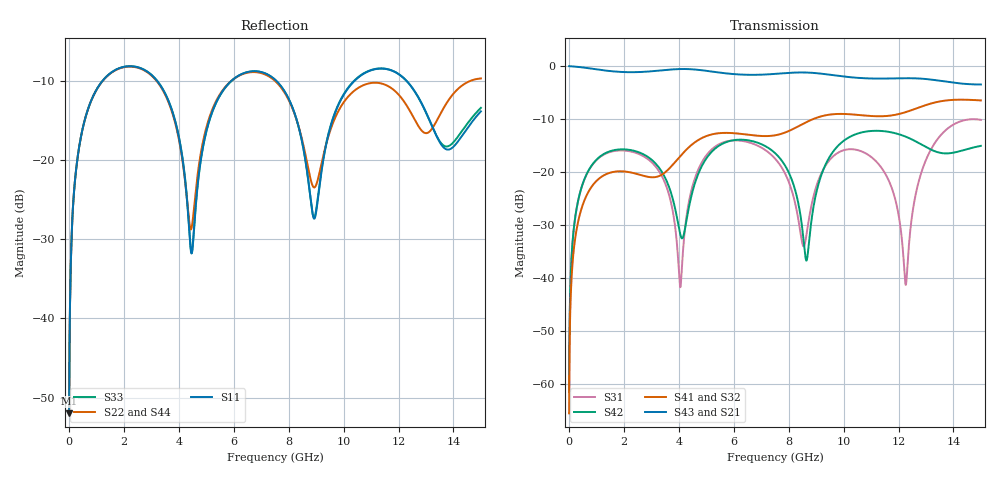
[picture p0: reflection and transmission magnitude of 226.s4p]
! Created with skrf 1.8.0 (http://scikit-rf.org).
# GHz S RI R 50.0
!freq ReS11 ImS11 ReS12 ImS12 ReS13 ImS13
! ReS14 ImS14
! ReS21 ImS21 ReS22 ImS22 ReS23 ImS23
! ReS24 ImS24
! ReS31 ImS31 ReS32 ImS32 ReS33 ImS33
! ReS34 ImS34
! ReS41 ImS41 ReS42 ImS42 ReS43 ImS43
! ReS44 ImS44
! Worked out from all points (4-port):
!   2499 points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, 5 MHz to 15 GHz, reference 50 ohm
!   strongest paths, dB at 5 MHz, 3.476 GHz, 7.19 GHz, 11.1 GHz, 15 GHz:
!     S43: 0.0, -0.8, -1.6, -2.4, -3.5
!     S21: 0.0, -0.8, -1.6, -2.4, -3.5
!     S41: -65.6, -20.2, -13.2, -9.5, -6.5
!     S32: -65.6, -20.2, -13.3, -9.5, -6.6
!     S42: -61.6, -20.9, -15.2, -12.2, -15.1
!     S31: -61.6, -21.8, -16.0, -17.6, -10.2
!   lowest |S11| = -52.0 dB at 5 MHz (marker M1), VSWR 1.01, Z = 50.2 + j0.153 ohm
!   |S11| at or under -10 dB: 3.209 GHz to 5.91 GHz (2.702 GHz wide, 59.2 % of centre); 7.554 GHz to 10.4 GHz (2.841 GHz wide, 31.7 % of centre); 12.3 GHz to end of sweep (the widest 3 of 4)
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0.005  0.00201 0.00152  0.998 -0.00391  0.000103 0.000826  -0.0001 -0.000514
       0.998 -0.00391  0.00201 0.00152  -0.0001 -0.000514  0.000103 0.000826
       0.000103 0.000826  -0.0001 -0.000514  0.00201 0.00152  0.998 -0.00391
       -0.0001 -0.000514  0.000103 0.000826  0.998 -0.00391  0.00201 0.00152
1.3193  0.2837 0.1701  0.5205 -0.7441  0.1333 0.0642  -0.0943 -0.00123
        0.5205 -0.7441  0.2815 0.1717  -0.0942 -0.0013  0.1395 0.0552
        0.1333 0.0642  -0.0942 -0.0013  0.2838 0.1701  0.5204 -0.7441
        -0.0943 -0.00123  0.1395 0.0552  0.5204 -0.7441  0.2815 0.1717
4.051688  0.0562 -0.1117  -0.8722 -0.3442  0.00802 0.00131  -0.0467 0.1329
          -0.8722 -0.3442  0.0649 -0.1028  -0.0477 0.1325  -0.022 -0.0134
          0.00802 0.00131  -0.0477 0.1325  0.0567 -0.1133  -0.8719 -0.3444
          -0.0467 0.1329  -0.022 -0.0134  -0.8719 -0.3444  0.0657 -0.1042
6.95915  0.3578 -0.0504  0.0149 0.828  0.1551 -0.0752  0.2055 -0.075
         0.0149 0.828  0.3531 -0.0435  0.2057 -0.0724  0.1551 -0.101
         0.1551 -0.0752  0.2057 -0.0724  0.3569 -0.051  0.0163 0.8284
         0.2055 -0.075  0.1551 -0.101  0.0163 0.8284  0.3512 -0.0438
8.647353  0.0565 -0.0713  0.8063 0.324  -0.0201 0.0154  0.1009 -0.2778
          0.8063 0.324  0.0782 -0.0638  0.1047 -0.2763  -0.014 0.00383
          -0.0201 0.0154  0.1047 -0.2763  0.0566 -0.0701  0.8074 0.3214
          0.1009 -0.2778  -0.014 0.00383  0.8074 0.3214  0.0768 -0.0633
12.26136  0.2831 -0.1508  -0.3568 -0.68  0.00724 0.00459  -0.3182 0.1831
          -0.3568 -0.68  0.2172 -0.0637  -0.322 0.1764  -0.081 -0.1995
          0.00724 0.00459  -0.322 0.1764  0.282 -0.1522  -0.3623 -0.677
          -0.3182 0.1831  -0.081 -0.1995  -0.3623 -0.677  0.2165 -0.0634
15  0.1971 0.0491  -0.4935 0.4536  0.3069 0.0447  0.3831 0.2786
    -0.4935 0.4536  0.3277 0.01  0.3738 0.285  0.1722 0.0375
    0.3069 0.0447  0.3738 0.285  0.2096 0.0424  -0.4859 0.4612
    0.3831 0.2786  0.1722 0.0375  -0.4859 0.4612  0.3212 0.012
